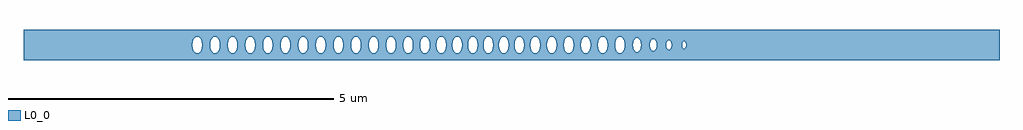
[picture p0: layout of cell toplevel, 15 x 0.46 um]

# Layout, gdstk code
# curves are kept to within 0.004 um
import gdstk
lib = gdstk.Library(unit=1e-6, precision=1e-09)
def P(c, l, *ps):  # polygons
    for p in ps: c.add(gdstk.Polygon(p, *l))
L0_0 = (0, 0)

toplevel = lib.new_cell('toplevel')
P(toplevel, L0_0, [(-4.36,0.016),(-4.354,0.056),(-4.338,0.095),(-4.323,0.114),(-4.301,0.128),(-4.301,0.231),(-7.5,0.231),(-7.5,-0.016),(-4.903,-0.016),(-4.901,0.032),(-4.889,0.077),(-4.861,0.118),(-4.834,0.13),(-4.806,0.124),(-4.778,0.095),(-4.76,0.048),(-4.755,-0.008),(-4.632,-0.008),(-4.63,0.032),(-4.618,0.077),(-4.594,0.114),(-4.563,0.13),(-4.539,0.126),(-4.514,0.106),(-4.495,0.07),(-4.484,0.016),(-4.487,-0.04),(-4.498,-0.077),(-4.526,-0.118),(-4.553,-0.13),(-4.581,-0.124),(-4.609,-0.095),(-4.625,-0.056),(-4.632,-0.008),(-4.755,-0.008),(-4.762,-0.056),(-4.778,-0.095),(-4.797,-0.118),(-4.824,-0.13),(-4.852,-0.124),(-4.873,-0.106),(-4.892,-0.07),(-4.903,-0.016),(-7.5,-0.016),(-7.5,-0.231),(-4.301,-0.231),(-4.301,-0.128),(-4.327,-0.11),(-4.347,-0.077),(-4.359,-0.032)],
  [(-3.547,0.016),(-3.541,0.056),(-3.521,0.101),(-3.521,0.231),(-4.301,0.231),(-4.301,0.128),(-4.273,0.128),(-4.243,0.106),(-4.22,0.056),(-4.213,-0.008),(-4.09,-0.008),(-4.085,0.048),(-4.07,0.089),(-4.047,0.118),(-4.02,0.13),(-3.993,0.124),(-3.968,0.101),(-3.945,0.04),(-3.942,-0.008),(-3.819,-0.008),(-3.814,0.048),(-3.799,0.089),(-3.776,0.118),(-3.749,0.13),(-3.722,0.124),(-3.697,0.101),(-3.682,0.07),(-3.671,0.016),(-3.674,-0.04),(-3.685,-0.077),(-3.713,-0.118),(-3.74,-0.13),(-3.768,-0.124),(-3.792,-0.101),(-3.81,-0.063),(-3.819,-0.008),(-3.942,-0.008),(-3.949,-0.056),(-3.968,-0.101),(-3.988,-0.121),(-4.011,-0.13),(-4.039,-0.124),(-4.063,-0.101),(-4.081,-0.063),(-4.09,-0.008),(-4.213,-0.008),(-4.224,-0.07),(-4.243,-0.106),(-4.273,-0.128),(-4.301,-0.128),(-4.301,-0.231),(-3.521,-0.231),(-3.521,-0.101),(-3.541,-0.056)],
  [(-2.864,-0.056),(-2.877,-0.089),(-2.9,-0.118),(-2.927,-0.13),(-2.954,-0.124),(-2.979,-0.101),(-2.994,-0.07),(-3.002,-0.04),(-3.005,0.016),(-2.994,0.07),(-2.979,0.101),(-2.954,0.124),(-2.927,0.13),(-2.9,0.118),(-2.877,0.089),(-2.862,0.048),(-2.857,0.008),(-2.857,0.231),(-3.521,0.231),(-3.521,0.101),(-3.501,0.121),(-3.483,0.129),(-3.46,0.128),(-3.442,0.118),(-3.426,0.101),(-3.411,0.07),(-3.399,0),(-3.277,0),(-3.273,0.04),(-3.26,0.083),(-3.234,0.118),(-3.207,0.13),(-3.18,0.124),(-3.155,0.101),(-3.137,0.063),(-3.128,0.008),(-3.135,-0.056),(-3.148,-0.089),(-3.171,-0.118),(-3.198,-0.13),(-3.225,-0.124),(-3.25,-0.101),(-3.269,-0.056),(-3.277,0),(-3.399,0),(-3.411,-0.07),(-3.426,-0.101),(-3.442,-0.118),(-3.46,-0.128),(-3.483,-0.129),(-3.501,-0.121),(-3.521,-0.101),(-3.521,-0.231),(-2.857,-0.231),(-2.857,-0.008)],
  [(-2.192,0.016),(-2.184,0.063),(-2.162,0.106),(-2.133,0.128),(-2.1,0.126),(-2.1,0.231),(-2.857,0.231),(-2.857,-0.016),(-2.734,-0.016),(-2.731,0.04),(-2.72,0.077),(-2.692,0.118),(-2.665,0.13),(-2.637,0.124),(-2.609,0.095),(-2.591,0.048),(-2.587,-0.016),(-2.463,-0.016),(-2.46,0.04),(-2.449,0.077),(-2.421,0.118),(-2.394,0.13),(-2.366,0.124),(-2.338,0.095),(-2.322,0.056),(-2.315,0.008),(-2.317,-0.032),(-2.329,-0.077),(-2.353,-0.114),(-2.384,-0.13),(-2.408,-0.126),(-2.433,-0.106),(-2.452,-0.07),(-2.463,-0.016),(-2.587,-0.016),(-2.593,-0.056),(-2.609,-0.095),(-2.637,-0.124),(-2.656,-0.13),(-2.679,-0.126),(-2.704,-0.106),(-2.723,-0.07),(-2.734,-0.016),(-2.857,-0.016),(-2.857,-0.231),(-2.1,-0.231),(-2.1,-0.126),(-2.133,-0.128),(-2.166,-0.101),(-2.188,-0.048)],
  [(-1.4,0.048),(-1.381,0.095),(-1.381,0.231),(-2.1,0.231),(-2.1,0.126),(-2.075,0.106),(-2.056,0.07),(-2.048,0.04),(-2.045,-0.016),(-1.925,-0.016),(-1.923,0.032),(-1.911,0.077),(-1.883,0.118),(-1.856,0.13),(-1.828,0.124),(-1.8,0.095),(-1.782,0.048),(-1.777,-0.008),(-1.662,-0.008),(-1.66,0.032),(-1.648,0.077),(-1.624,0.114),(-1.593,0.13),(-1.569,0.126),(-1.544,0.106),(-1.525,0.07),(-1.514,0.016),(-1.517,-0.04),(-1.528,-0.077),(-1.556,-0.118),(-1.583,-0.13),(-1.611,-0.124),(-1.639,-0.095),(-1.655,-0.056),(-1.662,-0.008),(-1.777,-0.008),(-1.784,-0.056),(-1.8,-0.095),(-1.819,-0.118),(-1.846,-0.13),(-1.874,-0.124),(-1.895,-0.106),(-1.914,-0.07),(-1.925,-0.016),(-2.045,-0.016),(-2.059,-0.077),(-2.075,-0.106),(-2.1,-0.126),(-2.1,-0.231),(-1.381,-0.231),(-1.381,-0.095),(-1.4,-0.048),(-1.405,-0.008)],
  [(-0.659,-0.063),(-0.668,0.008),(-0.656,0.07),(-0.656,0.231),(-1.381,0.231),(-1.381,0.095),(-1.362,0.118),(-1.345,0.128),(-1.321,0.129),(-1.299,0.118),(-1.283,0.101),(-1.268,0.07),(-1.257,-0.008),(-1.154,-0.008),(-1.147,0.056),(-1.134,0.089),(-1.111,0.118),(-1.084,0.13),(-1.057,0.124),(-1.032,0.101),(-1.009,0.04),(-1.006,-0.016),(-0.908,-0.016),(-0.905,0.04),(-0.894,0.077),(-0.866,0.118),(-0.839,0.13),(-0.811,0.124),(-0.787,0.101),(-0.769,0.063),(-0.76,0.008),(-0.765,-0.048),(-0.78,-0.089),(-0.803,-0.118),(-0.83,-0.13),(-0.857,-0.124),(-0.882,-0.101),(-0.897,-0.07),(-0.908,-0.016),(-1.006,-0.016),(-1.017,-0.07),(-1.032,-0.101),(-1.057,-0.124),(-1.084,-0.13),(-1.111,-0.118),(-1.134,-0.089),(-1.147,-0.056),(-1.154,-0.008),(-1.257,-0.008),(-1.268,-0.07),(-1.283,-0.101),(-1.303,-0.121),(-1.326,-0.13),(-1.345,-0.128),(-1.362,-0.118),(-1.381,-0.095),(-1.381,-0.231),(-0.656,-0.231)],
  [(0.046,0),(0.047,0.231),(-0.656,0.231),(-0.656,0.07),(-0.641,0.101),(-0.617,0.124),(-0.598,0.13),(-0.571,0.124),(-0.55,0.106),(-0.531,0.07),(-0.52,-0.008),(-0.43,-0.008),(-0.425,0.048),(-0.407,0.095),(-0.379,0.124),(-0.36,0.13),(-0.333,0.124),(-0.305,0.095),(-0.285,0.04),(-0.282,-0.008),(-0.193,-0.008),(-0.188,0.048),(-0.173,0.089),(-0.15,0.118),(-0.123,0.13),(-0.096,0.124),(-0.071,0.101),(-0.056,0.07),(-0.045,0.016),(-0.048,-0.04),(-0.059,-0.077),(-0.087,-0.118),(-0.114,-0.13),(-0.142,-0.124),(-0.166,-0.101),(-0.184,-0.063),(-0.193,-0.008),(-0.282,-0.008),(-0.289,-0.056),(-0.305,-0.095),(-0.324,-0.118),(-0.351,-0.13),(-0.379,-0.124),(-0.407,-0.095),(-0.423,-0.056),(-0.43,-0.008),(-0.52,-0.008),(-0.534,-0.077),(-0.55,-0.106),(-0.575,-0.126),(-0.598,-0.13),(-0.617,-0.124),(-0.641,-0.101),(-0.656,-0.071),(-0.656,-0.231),(0.047,-0.231)],
  [(0.55,0.048),(0.565,0.089),(0.588,0.118),(0.615,0.13),(0.647,0.121),(0.647,0.231),(0.047,0.231),(0.047,0.016),(0.053,0.056),(0.073,0.101),(0.098,0.124),(0.125,0.13),(0.152,0.118),(0.178,0.083),(0.191,0.04),(0.194,-0.016),(0.292,-0.016),(0.295,0.04),(0.315,0.095),(0.338,0.121),(0.37,0.13),(0.397,0.118),(0.42,0.089),(0.435,0.048),(0.44,0.008),(0.435,-0.048),(0.42,-0.089),(0.397,-0.118),(0.37,-0.13),(0.347,-0.126),(0.322,-0.106),(0.303,-0.07),(0.292,-0.016),(0.194,-0.016),(0.188,-0.056),(0.168,-0.101),(0.139,-0.126),(0.107,-0.128),(0.077,-0.106),(0.063,-0.083),(0.047,-0.019),(0.047,-0.231),(0.647,-0.231),(0.647,-0.121),(0.624,-0.13),(0.605,-0.128),(0.588,-0.118),(0.565,-0.089),(0.55,-0.048),(0.545,-0.008)],
  [(0.69,-0.04),(0.667,-0.101),(0.647,-0.121),(0.647,-0.231),(1.407,-0.231),(1.407,-0.13),(1.379,-0.124),(1.355,-0.101),(1.337,-0.063),(1.328,-0.008),(1.333,0.048),(1.348,0.089),(1.379,0.124),(1.407,0.13),(1.407,0.231),(0.647,0.231),(0.647,0.121),(0.667,0.101),(0.682,0.07),(0.693,-0.008),(0.805,-0.008),(0.807,0.032),(0.819,0.077),(0.843,0.114),(0.874,0.13),(0.902,0.124),(0.93,0.095),(0.95,0.04),(0.953,-0.016),(1.067,-0.016),(1.07,0.04),(1.081,0.077),(1.097,0.106),(1.131,0.129),(1.155,0.128),(1.184,0.106),(1.21,0.048),(1.215,-0.008),(1.201,-0.077),(1.172,-0.118),(1.145,-0.13),(1.118,-0.124),(1.093,-0.101),(1.078,-0.07),(1.067,-0.016),(0.953,-0.016),(0.942,-0.07),(0.93,-0.095),(0.911,-0.118),(0.884,-0.13),(0.856,-0.124),(0.828,-0.095),(0.812,-0.056),(0.805,-0.008),(0.693,-0.008)],
  [(1.473,-0.04),(1.45,-0.101),(1.43,-0.121),(1.407,-0.13),(1.407,-0.231),(2.136,-0.231),(2.136,-0.055),(2.126,-0.006),(2.136,0.055),(2.136,0.231),(1.407,0.231),(1.407,0.13),(1.43,0.121),(1.45,0.101),(1.469,0.056),(1.476,0),(1.592,0),(1.596,0.04),(1.609,0.083),(1.635,0.118),(1.662,0.13),(1.694,0.121),(1.721,0.089),(1.737,0.04),(1.74,-0.014),(1.865,-0.014),(1.868,0.035),(1.879,0.071),(1.894,0.095),(1.925,0.112),(1.944,0.109),(1.963,0.095),(1.988,0.041),(1.992,-0.014),(1.98,-0.066),(1.963,-0.095),(1.933,-0.112),(1.913,-0.109),(1.891,-0.091),(1.877,-0.066),(1.865,-0.014),(1.74,-0.014),(1.734,-0.056),(1.714,-0.101),(1.694,-0.121),(1.671,-0.13),(1.644,-0.124),(1.619,-0.101),(1.6,-0.056),(1.592,0),(1.476,0)],
  [(2.143,0.068),(2.157,0.085),(2.176,0.094),(2.202,0.085),(2.228,0.04),(2.232,-0.009),(2.377,-0.009),(2.388,0.052),(2.406,0.072),(2.425,0.075),(2.443,0.064),(2.453,0.048),(2.462,-0.004),(2.62,-0.004),(2.632,0.044),(2.657,0.057),(2.679,0.034),(2.685,-0.011),(2.672,-0.046),(2.649,-0.057),(2.629,-0.039),(2.62,-0.004),(2.462,-0.004),(2.456,-0.04),(2.443,-0.064),(2.428,-0.074),(2.414,-0.075),(2.388,-0.052),(2.377,-0.009),(2.232,-0.009),(2.221,-0.06),(2.193,-0.091),(2.166,-0.091),(2.148,-0.076),(2.136,-0.055),(2.136,-0.231),(7.5,-0.231),(7.5,0.231),(2.136,0.231),(2.136,0.055)])

lib.write_gds('toplevel.gds')
